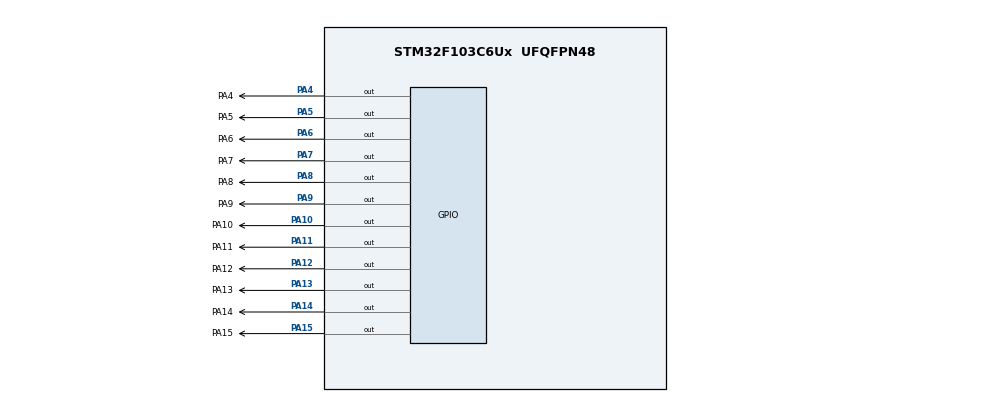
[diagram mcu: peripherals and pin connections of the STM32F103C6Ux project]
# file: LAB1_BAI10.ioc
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Mcu.Family=STM32F1
Mcu.Name=STM32F103C6Ux
Mcu.Package=UFQFPN48
NVIC.PriorityGroup=NVIC_PRIORITYGROUP_4
PA10.GPIO_Label=PA10
PA10.Signal=GPIO_Output
PA11.GPIO_Label=PA11
PA11.Signal=GPIO_Output
PA12.GPIO_Label=PA12
PA12.Signal=GPIO_Output
PA13.GPIO_Label=PA13
PA13.Signal=GPIO_Output
PA14.GPIO_Label=PA14
PA14.Signal=GPIO_Output
PA15.GPIO_Label=PA15
PA15.Signal=GPIO_Output
PA4.GPIO_Label=PA4
PA4.Signal=GPIO_Output
PA5.GPIO_Label=PA5
PA5.Signal=GPIO_Output
PA6.GPIO_Label=PA6
PA6.Signal=GPIO_Output
PA7.GPIO_Label=PA7
PA7.Signal=GPIO_Output
PA8.GPIO_Label=PA8
PA8.Signal=GPIO_Output
PA9.GPIO_Label=PA9
PA9.Signal=GPIO_Output
ProjectManager.HeapSize=0x200
ProjectManager.StackSize=0x400
ProjectManager.TargetToolchain=STM32CubeIDE
RCC.APB1Freq_Value=8000000
RCC.APB2Freq_Value=8000000
VP_SYS_VS_ND.Mode=No_Debug
board=custom

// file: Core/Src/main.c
/* USER CODE BEGIN Header */
/**
  ******************************************************************************
  * @file           : main.c
  * @brief          : Main program body
  ******************************************************************************
  * @attention
  *
  * <h2><center>&copy; Copyright (c) 2026 STMicroelectronics.
  * All rights reserved.</center></h2>
  *
  * This software component is licensed by ST under BSD 3-Clause license,
  * the "License"; You may not use this file except in compliance with the
  * License. You may obtain a copy of the License at:
  *                        opensource.org/licenses/BSD-3-Clause
  *
  ******************************************************************************
  */
/* USER CODE END Header */
#include "main.h"

void SystemClock_Config(void);
static void MX_GPIO_Init(void);

/* USER CODE BEGIN 0 */

void clearAllClock(void)
{
  HAL_GPIO_WritePin(GPIOA, 0xFFF0U, GPIO_PIN_RESET);
}

void setNumberOnClock(int num)
{
  if (num < 0 || num > 11)
  {
    return;
  }

  uint16_t pin = (uint16_t)(GPIO_PIN_4 << num);
  HAL_GPIO_WritePin(GPIOA, pin, GPIO_PIN_SET);
}

void clearNumberOnClock(int num)
{
  if (num < 0 || num > 11)
  {
    return;
  }

  uint16_t pin = (uint16_t)(GPIO_PIN_4 << num);
  HAL_GPIO_WritePin(GPIOA, pin, GPIO_PIN_RESET);
}

void displayClock(int hour, int minute, int second)
{
  clearAllClock();

  setNumberOnClock(hour % 12);
  setNumberOnClock(minute / 5);
  setNumberOnClock(second / 5);
}

/* USER CODE END 0 */

int main(void)
{

  /* MCU Configuration--------------------------------------------------------*/

  /* Reset of all peripherals, Initializes the Flash interface and the Systick. */
  HAL_Init();

  /* Configure the system clock */
  SystemClock_Config();

  /* Initialize all configured peripherals */
  MX_GPIO_Init();

  /* USER CODE BEGIN 2 */
  int hour = 3;
  int minute = 20;
  int second = 40;

  uint32_t lastTick = HAL_GetTick();
  displayClock(hour, minute, second);
  /* USER CODE END 2 */

  /* Infinite loop */
  /* USER CODE BEGIN WHILE */
  while (1)
  {
    /* Cap nhat thoi gian moi 1000 ms */
    while ((uint32_t)(HAL_GetTick() - lastTick) >= 1000U)
    {
      lastTick += 1000U;

      second++;

      if (second >= 60)
      {
        second = 0;
        minute++;
      }

      if (minute >= 60)
      {
        minute = 0;
        hour++;
      }

      if (hour >= 24)
      {
        hour = 0;
      }

      displayClock(hour, minute, second);
    }

    /* USER CODE END WHILE */

  }
}

void SystemClock_Config(void)
{
  RCC_OscInitTypeDef RCC_OscInitStruct = {0};
  RCC_ClkInitTypeDef RCC_ClkInitStruct = {0};

  /** Initializes the RCC Oscillators according to the specified parameters
  * in the RCC_OscInitTypeDef structure.
  */
  RCC_OscInitStruct.OscillatorType = RCC_OSCILLATORTYPE_HSI;
  RCC_OscInitStruct.HSIState = RCC_HSI_ON;
  RCC_OscInitStruct.HSICalibrationValue = RCC_HSICALIBRATION_DEFAULT;
  RCC_OscInitStruct.PLL.PLLState = RCC_PLL_NONE;
  if (HAL_RCC_OscConfig(&RCC_OscInitStruct) != HAL_OK)
  {
    Error_Handler();
  }
  /** Initializes the CPU, AHB and APB buses clocks
  */
  RCC_ClkInitStruct.ClockType = RCC_CLOCKTYPE_HCLK|RCC_CLOCKTYPE_SYSCLK
                              |RCC_CLOCKTYPE_PCLK1|RCC_CLOCKTYPE_PCLK2;
  RCC_ClkInitStruct.SYSCLKSource = RCC_SYSCLKSOURCE_HSI;
  RCC_ClkInitStruct.AHBCLKDivider = RCC_SYSCLK_DIV1;
  RCC_ClkInitStruct.APB1CLKDivider = RCC_HCLK_DIV1;
  RCC_ClkInitStruct.APB2CLKDivider = RCC_HCLK_DIV1;

  if (HAL_RCC_ClockConfig(&RCC_ClkInitStruct, FLASH_LATENCY_0) != HAL_OK)
  {
    Error_Handler();
  }
}

static void MX_GPIO_Init(void)
{
  GPIO_InitTypeDef GPIO_InitStruct = {0};

  /* GPIO Ports Clock Enable */
  __HAL_RCC_GPIOA_CLK_ENABLE();

  /*Configure GPIO pin Output Level */
  HAL_GPIO_WritePin(GPIOA, PA4_Pin|PA5_Pin|PA6_Pin|PA7_Pin
                          |PA8_Pin|PA9_Pin|PA10_Pin|PA11_Pin
                          |PA12_Pin|PA13_Pin|PA14_Pin|PA15_Pin, GPIO_PIN_RESET);

  /*Configure GPIO pins : PA4_Pin PA5_Pin PA6_Pin PA7_Pin
                           PA8_Pin PA9_Pin PA10_Pin PA11_Pin
                           PA12_Pin PA13_Pin PA14_Pin PA15_Pin */
  GPIO_InitStruct.Pin = PA4_Pin|PA5_Pin|PA6_Pin|PA7_Pin
                          |PA8_Pin|PA9_Pin|PA10_Pin|PA11_Pin
                          |PA12_Pin|PA13_Pin|PA14_Pin|PA15_Pin;
  GPIO_InitStruct.Mode = GPIO_MODE_OUTPUT_PP;
  GPIO_InitStruct.Pull = GPIO_NOPULL;
  GPIO_InitStruct.Speed = GPIO_SPEED_FREQ_LOW;
  HAL_GPIO_Init(GPIOA, &GPIO_InitStruct);

}

void Error_Handler(void)
{
  __disable_irq();
  while (1)
  {
  }
}

/************************ (C) COPYRIGHT STMicroelectronics *****END OF FILE****/
